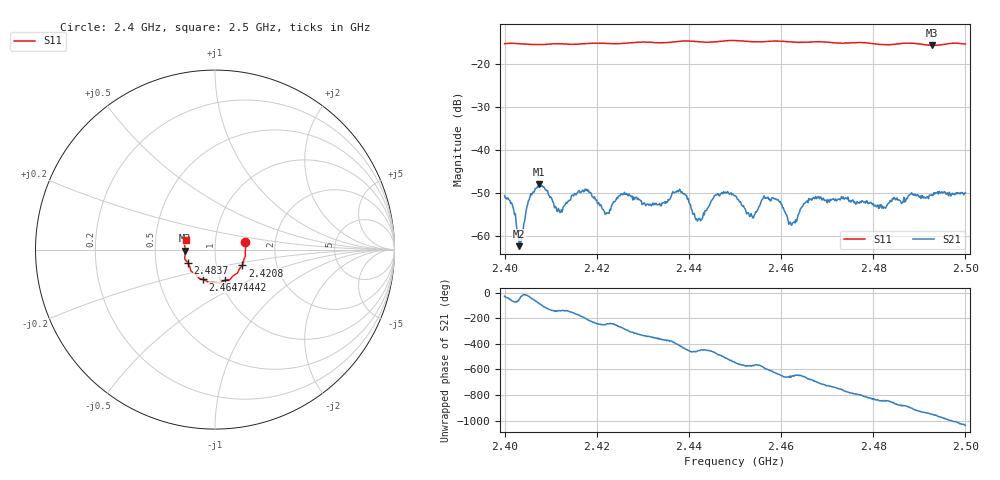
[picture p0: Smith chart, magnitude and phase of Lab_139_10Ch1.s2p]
# Hz S RI R 50
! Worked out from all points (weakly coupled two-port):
!   601 points, 2.4 GHz to 2.5 GHz, reference 50 ohm
!   highest |S21| = -47.97 dB at 2.4075 GHz (marker M1); lowest = -62.3 dB at 2.4032 GHz (marker M2)
!   lowest |S11| = -15.6 dB at 2.4928 GHz (marker M3), VSWR 1.40, Z = 35.8 - j0.388 ohm
!   |S11| at or under -10 dB: start of sweep to end of sweep
!   S12 and S22 are empty: the file has one direction only
!   S11 on the Smith chart (normalised r, x): 2.4 GHz: 1.40, +0.12; 2.4208 GHz: 1.33, -0.24; 2.4442 GHz: 1.05, -0.37; 2.4647 GHz: 0.83, -0.29; 2.4837 GHz: 0.73, -0.11; 2.5 GHz: 0.72, +0.08
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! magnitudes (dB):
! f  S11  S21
! 2.4 GHz  -15.2  -50.6
! 2.4018 GHz  -15.1  -53.3
! 2.4032 GHz  -15.2  -62.3
! 2.4053 GHz  -15.4  -51.6
! 2.4075 GHz  -15.4  -48.0
! 2.412 GHz  -15.2  -54.5
! 2.4167 GHz  -15.3  -49.7
! 2.4208 GHz  -15.1  -52.6
! 2.4333 GHz  -15.0  -52.7
! 2.4377 GHz  -14.7  -49.7
! 2.442 GHz  -14.7  -56.2
! 2.4442 GHz  -14.9  -53.3
! 2.45 GHz  -14.5  -50.6
! 2.4537 GHz  -14.8  -55.3
! 2.4588 GHz  -14.6  -51.3
! 2.4622 GHz  -14.8  -57.4
! 2.4647 GHz  -14.9  -53.1
! 2.4667 GHz  -14.8  -51.7
! 2.4833 GHz  -15.5  -52.4
! 2.4837 GHz  -15.4  -51.7
! 2.4928 GHz  -15.6  -50.6
! 2.5 GHz  -15.3  -49.9
